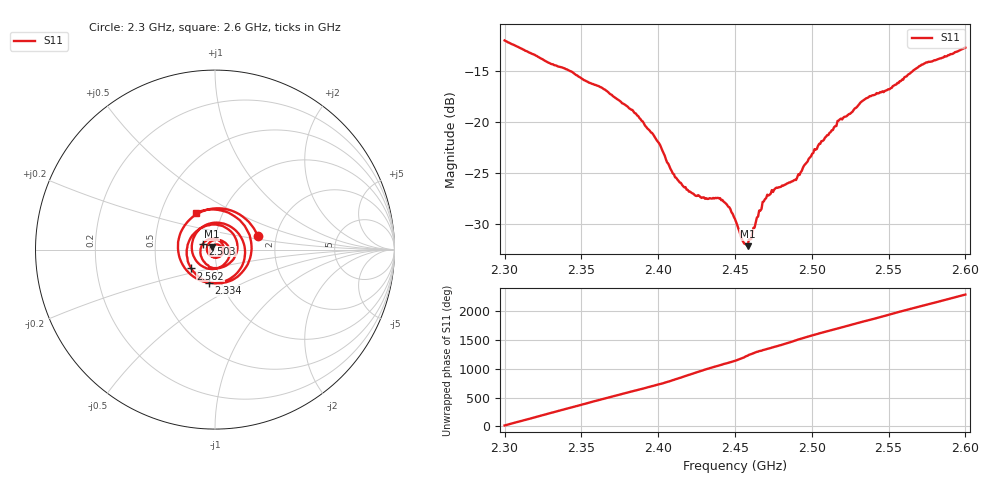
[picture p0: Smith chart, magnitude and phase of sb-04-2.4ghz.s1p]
! NanoVNA-App
! Date: 2026-05-22 17:32:53
! Start: 2.3GHz Stop: 2.6GHz Points: 401
! S-Parameter data: F S11
# Hz S RI R 50
!  Frequency  S11_Real  S11_Imag
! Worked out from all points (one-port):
!   401 points, 2.3 GHz to 2.6 GHz, reference 50 ohm
!   lowest |S11| = -32.2 dB at 2.458 GHz (marker M1), VSWR 1.05, Z = 48.1 + j1.49 ohm
!   |S11| at or under -10 dB: start of sweep to end of sweep
!   S11 on the Smith chart (normalised r, x): 2.3 GHz: 1.60, +0.26; 2.334 GHz: 0.88, -0.34; 2.503 GHz: 0.87, +0.06; 2.562 GHz: 0.75, -0.16; 2.6 GHz: 0.75, +0.32
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2.3e9  0.238 0.0764
2.30975e9  0.0102 0.23
2.3195e9  -0.1957 0.0835
2.32625e9  -0.1802 -0.0843
2.33375e9  -0.0331 -0.1854
2.3375e9  0.052 -0.1769
2.34725e9  0.1678 -0.0172
2.3585e9  0.0347 0.1477
2.375e9  -0.1243 -0.0237
2.38475e9  -0.0214 -0.1081
2.396e9  0.0806 -0.0358
2.4125e9  -0.0134 0.0504
2.4305e9  -0.00632 -0.0415
2.45e9  0.0199 0.0269
2.45825e9  -0.0192 0.0155
2.4695e9  -0.0164 -0.0385
2.4875e9  0.0451 0.0241
2.50325e9  -0.0658 0.033
2.513e9  -0.0636 -0.065
2.525e9  0.0719 -0.0826
2.53475e9  0.122 0.0428
2.54525e9  -0.00642 0.1393
2.55425e9  -0.1416 0.0542
2.5625e9  -0.1332 -0.1051
2.573e9  0.063 -0.1816
2.5835e9  0.2041 0.00607
2.5925e9  0.0906 0.1969
2.6e9  -0.106 0.2049
